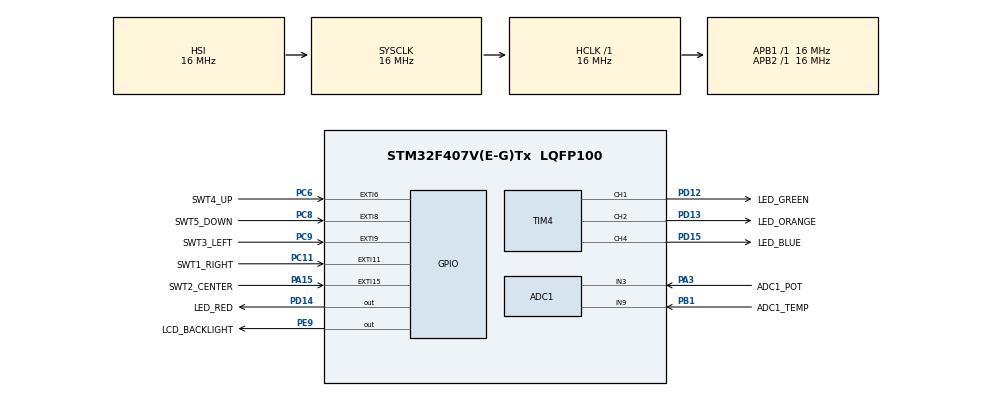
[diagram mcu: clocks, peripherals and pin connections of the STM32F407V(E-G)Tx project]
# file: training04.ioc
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ADC1.Channel-0\#ChannelRegularConversion=ADC_CHANNEL_3
ADC1.Channel-1\#ChannelRegularConversion=ADC_CHANNEL_9
ADC1.Channel-2\#ChannelRegularConversion=ADC_CHANNEL_TEMPSENSOR
ADC1.Channel-3\#ChannelRegularConversion=ADC_CHANNEL_VREFINT
ADC1.ContinuousConvMode=DISABLE
ADC1.DMAContinuousRequests=ENABLE
ADC1.EOCSelection=ADC_EOC_SEQ_CONV
ADC1.ExternalTrigConv=ADC_EXTERNALTRIGCONV_T3_TRGO
ADC1.NbrOfConversion=4
ADC1.NbrOfConversionFlag=1
ADC1.Rank-0\#ChannelRegularConversion=1
ADC1.Rank-1\#ChannelRegularConversion=2
ADC1.Rank-2\#ChannelRegularConversion=3
ADC1.Rank-3\#ChannelRegularConversion=4
ADC1.SamplingTime-0\#ChannelRegularConversion=ADC_SAMPLETIME_480CYCLES
ADC1.SamplingTime-1\#ChannelRegularConversion=ADC_SAMPLETIME_480CYCLES
ADC1.SamplingTime-2\#ChannelRegularConversion=ADC_SAMPLETIME_480CYCLES
ADC1.SamplingTime-3\#ChannelRegularConversion=ADC_SAMPLETIME_480CYCLES
ADC1.ScanConvMode=ENABLE
ADC1.master=1
Dma.ADC1.0.Direction=DMA_PERIPH_TO_MEMORY
Dma.ADC1.0.FIFOMode=DMA_FIFOMODE_DISABLE
Dma.ADC1.0.Instance=DMA2_Stream0
Dma.ADC1.0.MemDataAlignment=DMA_MDATAALIGN_HALFWORD
Dma.ADC1.0.MemInc=DMA_MINC_ENABLE
Dma.ADC1.0.Mode=DMA_CIRCULAR
Dma.ADC1.0.PeriphDataAlignment=DMA_PDATAALIGN_HALFWORD
Dma.ADC1.0.PeriphInc=DMA_PINC_DISABLE
Dma.ADC1.0.Priority=DMA_PRIORITY_LOW
Dma.Request0=ADC1
Mcu.Family=STM32F4
Mcu.Name=STM32F407V(E-G)Tx
Mcu.Package=LQFP100
Mcu.UserConstants=TIM4_PERIOD,100;SAMPLING_RATE,100;TIM4_PRESCALER,1600;TIM3_PRESCALER,160;TIM3_PERIOD,(TIM34_CLK / (TIM3_PRESCALER * SAMPLING_RATE));TIM34_CLK,16000000;ENABLE_VREF_CORRECTION,1;ADC_CHANNELS,4
NVIC.DMA2_Stream0_IRQn=true\:0\:0\:false\:false\:true\:false\:true
NVIC.EXTI15_10_IRQn=true\:0\:0\:false\:false\:true\:true\:true
NVIC.EXTI9_5_IRQn=true\:0\:0\:false\:false\:true\:true\:true
NVIC.PriorityGroup=NVIC_PRIORITYGROUP_4
PA13.Mode=Trace_Asynchronous_SW
PA13.Signal=SYS_JTMS-SWDIO
PA14.Mode=Trace_Asynchronous_SW
PA14.Signal=SYS_JTCK-SWCLK
PA15.GPIO_Label=SWT2_CENTER
PA15.GPIO_ModeDefaultEXTI=GPIO_MODE_IT_FALLING
PA15.Signal=GPXTI15
PA3.GPIO_Label=ADC1_POT
PA3.Signal=ADCx_IN3
PB1.GPIO_Label=ADC1_TEMP
PB1.Signal=ADCx_IN9
PB3.Mode=Trace_Asynchronous_SW
PB3.Signal=SYS_JTDO-SWO
PC11.GPIO_Label=SWT1_RIGHT
PC11.GPIO_ModeDefaultEXTI=GPIO_MODE_IT_FALLING
PC11.Signal=GPXTI11
PC6.GPIO_Label=SWT4_UP
PC6.GPIO_ModeDefaultEXTI=GPIO_MODE_IT_FALLING
PC6.Signal=GPXTI6
PC8.GPIO_Label=SWT5_DOWN
PC8.GPIO_ModeDefaultEXTI=GPIO_MODE_IT_FALLING
PC8.Signal=GPXTI8
PC9.GPIO_Label=SWT3_LEFT
PC9.GPIO_ModeDefaultEXTI=GPIO_MODE_IT_FALLING
PC9.Signal=GPXTI9
PD12.GPIO_Label=LED_GREEN
PD12.GPIO_PuPd=GPIO_PULLDOWN
PD12.Signal=SharedStack_PD12
PD12.Stacked=true
PD13.GPIO_Label=LED_ORANGE
PD13.GPIO_PuPd=GPIO_PULLDOWN
PD13.Signal=SharedStack_PD13
PD13.Stacked=true
PD14.GPIO_Label=LED_RED
PD14.Signal=GPIO_Output
PD15.GPIO_Label=LED_BLUE
PD15.GPIO_PuPd=GPIO_PULLDOWN
PD15.Signal=SharedStack_PD15
PD15.Stacked=true
PE9.GPIO_Label=LCD_BACKLIGHT
PE9.Signal=GPIO_Output
PH0-OSC_IN.Mode=HSE-External-Oscillator
PH0-OSC_IN.Signal=RCC_OSC_IN
PH1-OSC_OUT.Mode=HSE-External-Oscillator
PH1-OSC_OUT.Signal=RCC_OSC_OUT
ProjectManager.HeapSize=0x200
ProjectManager.StackSize=0x400
ProjectManager.TargetToolchain=STM32CubeIDE
RCC.48MHZClocksFreq_Value=48000000
RCC.AHBFreq_Value=16000000
RCC.APB1Freq_Value=16000000
RCC.APB1TimFreq_Value=16000000
RCC.APB2Freq_Value=16000000
RCC.APB2TimFreq_Value=16000000
RCC.CortexFreq_Value=16000000
RCC.HCLKFreq_Value=16000000
RCC.HSE_VALUE=8000000
RCC.HSI_VALUE=16000000
RCC.LSE_VALUE=32768
RCC.PLLM=8
RCC.PLLSourceVirtual=RCC_PLLSOURCE_HSE
RCC.SYSCLKFreq_VALUE=16000000
RCC.VCOOutputFreq_Value=192000000
SH.ADCx_IN3.0=ADC1_IN3,IN3
SH.ADCx_IN9.0=ADC1_IN9,IN9
SH.SharedStack_PD12.0=TIM4_CH1,PWM Generation1 CH1
SH.SharedStack_PD12.1=GPIO_Output+0
SH.SharedStack_PD13.0=TIM4_CH2,PWM Generation2 CH2
SH.SharedStack_PD13.1=GPIO_Output+0
SH.SharedStack_PD15.0=GPIO_Output+0
SH.SharedStack_PD15.1=TIM4_CH4,PWM Generation4 CH4
TIM3.Period=TIM3_PERIOD-1
TIM3.Prescaler=TIM3_PRESCALER-1
TIM3.TIM_MasterOutputTrigger=TIM_TRGO_UPDATE
TIM4.AutoReloadPreload=TIM_AUTORELOAD_PRELOAD_ENABLE
TIM4.Channel-PWM\ Generation1\ CH1=TIM_CHANNEL_1
TIM4.Channel-PWM\ Generation2\ CH2=TIM_CHANNEL_2
TIM4.Channel-PWM\ Generation4\ CH4=TIM_CHANNEL_4
TIM4.Period=TIM4_PERIOD-1
TIM4.Prescaler=TIM4_PRESCALER-1
TIM4.Pulse-PWM\ Generation1\ CH1=0
TIM4.Pulse-PWM\ Generation2\ CH2=0
TIM4.Pulse-PWM\ Generation4\ CH4=0
VP_ADC1_TempSens_Input.Mode=IN-TempSens
VP_ADC1_Vref_Input.Mode=IN-Vrefint
VP_TIM3_VS_ClockSourceINT.Mode=Internal
VP_TIM4_VS_ClockSourceINT.Mode=Internal
board=custom

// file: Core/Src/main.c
/* USER CODE BEGIN Header */
/**
  ******************************************************************************
  * @file           : main.c
  * @brief          : Main program body
  ******************************************************************************
  * @attention
  *
  * <h2><center>&copy; Copyright (c) 2021 STMicroelectronics.
  * All rights reserved.</center></h2>
  *
  * This software component is licensed by ST under BSD 3-Clause license,
  * the "License"; You may not use this file except in compliance with the
  * License. You may obtain a copy of the License at:
  *                        opensource.org/licenses/BSD-3-Clause
  *
  ******************************************************************************
  */
/* USER CODE END Header */
#include "main.h"

/* USER CODE BEGIN Includes */
#include <stdio.h>
/* USER CODE END Includes */

/* USER CODE BEGIN PTD */
typedef enum AdcBufferStatus {
	ADC_BUFFER_NRDY = 0,
	ADC_BUFFER_FIRST_RDY,
	ADC_BUFFER_SECOND_RDY
} AdcBufferStatus;
/* USER CODE END PTD */

/* USER CODE BEGIN PD */

// Maximum allowed value at 3V reference is 175. Higher value leads to calculation overflow
#define ADC_FILTER_SIZE 25
#define ADC_BUFFER_SIZE (2 * ADC_FILTER_SIZE)

#define LED_CCR_BLUE (htim4.Instance->CCR4)
#define LED_CCR_GREEN (htim4.Instance->CCR1)
#define LED_CCR_ORANGE (htim4.Instance->CCR2)

#define CALIBRATION_VOLTAGE 3300

/* USER CODE END PD */

ADC_HandleTypeDef hadc1;
DMA_HandleTypeDef hdma_adc1;

TIM_HandleTypeDef htim3;
TIM_HandleTypeDef htim4;

/* USER CODE BEGIN PV */
int32_t cfgReferenceVoltage = 3000;

volatile AdcBufferStatus adcBufferStatus = ADC_BUFFER_NRDY;
uint16_t adcValues[ADC_BUFFER_SIZE][ADC_CHANNELS];

int32_t potVoltage = 0; // Potentiometer voltage, mV
int32_t extTemperature = 0; // External temperature, 0.1 C
int32_t intTemperature = 0; // Internal temperature, 0.1 C

uint8_t wrnPotentiometer = 0;
uint8_t wrnExtTemperature = 0;
uint8_t wrnIntTemperature = 0;

const int32_t limPotentiometer = 1500;
const int32_t hystPotentiometer = 100;
const int32_t limTemperature = 40*10;
const int32_t hystTemperature = 1*10;

const int32_t minPotentiometer = 0;
const int32_t maxPotentiometer = 3000;
const int32_t minTemperature = 20*10;
const int32_t maxTemperature = 60*10;

const uint16_t wrnBlinkPeriod[4] = {0, 1000/2, 1000/5, 1000/10};

const uint16_t *const vRefCalibration = (const uint16_t *const)0x1fff7a2a;
/* USER CODE END PV */

void SystemClock_Config(void);
static void MX_GPIO_Init(void);
static void MX_TIM4_Init(void);
static void MX_DMA_Init(void);
static void MX_ADC1_Init(void);
static void MX_TIM3_Init(void);
/* USER CODE BEGIN PFP */
uint8_t hlimCheck(int32_t value, int32_t limit, int32_t hyst, uint8_t prevCheck);
int32_t trimAtLimits(int32_t value, int32_t min, int32_t max);
static void warningBlink(uint8_t warningCount);
static int32_t mv2tInternal(int32_t voltage);
static int32_t mv2tExternal(int32_t voltage);
static int32_t adcBuf2Voltages(const uint16_t *adcBuffer, int32_t refV, int32_t chVoltages[ADC_CHANNELS]);
/* USER CODE END PFP */

/* USER CODE BEGIN 0 */
#ifdef DEBUG
/**
 * @brief System function to standard output
 * @param file stream number
 * @param ptr data buffer for output
 * @param len length of data in buffer
 * @retval count of writed data
 */
int _write(int file, char* ptr, int len) {
	int i = 0;
	for (i = 0; i<len; i++)
		ITM_SendChar(*ptr++);
	return len;
}
#endif // DEBUG
/**
  * @brief  Regular conversion half DMA transfer callback in non blocking mode
  * @param  hadc pointer to a ADC_HandleTypeDef structure that contains
  *         the configuration information for the specified ADC.
  * @retval None
  */
void HAL_ADC_ConvHalfCpltCallback(ADC_HandleTypeDef* hadc)
{
	adcBufferStatus = ADC_BUFFER_FIRST_RDY;
}
/**
  * @brief  Regular conversion complete callback in non blocking mode
  * @param  hadc pointer to a ADC_HandleTypeDef structure that contains
  *         the configuration information for the specified ADC.
  * @retval None
  */
void HAL_ADC_ConvCpltCallback(ADC_HandleTypeDef* hadc)
{
	adcBufferStatus = ADC_BUFFER_SECOND_RDY;
}

/**
 * @brief Checking high limit exceed with hysteresis
 * @param value current measurement value
 * @param limit limit setpoint
 * @param hyst hysteresis value
 * @param prevCheck previous checking status
 * @retval boolean result of checking
 */
uint8_t hlimCheck(int32_t value, int32_t limit, int32_t hyst, uint8_t prevCheck)
{
	if (prevCheck)
		return value > (limit-hyst);
	return value >= (limit+hyst);
}

/**
 * @brief Limit value within specified limits [min, max]
 * @param value measured value
 * @param min low limit
 * @param max high limit
 * @retval limited value
 */
int32_t trimAtLimits(int32_t value, int32_t min, int32_t max)
{
	if (value < min)
		return min;
	if (value > max)
		return max;
	return value;
}

/**
 * Convert voltage to external board temperature
 * @param voltage measured voltage in 0.1 mV
 * @retval temperature in 0.1 C
 */
static int32_t mv2tExternal(int32_t voltage) {
	return -voltage / 20 + 1010;
}

/**
 * Convert voltage to internal MCU temperature
 * @param voltage measured voltage in 0.1 mV
 * @retval temperature in 0.1 C
 */
static int32_t mv2tInternal(int32_t voltage) {
	return (voltage - 7600) * 10 / 25 + 250;
}

/**
 * Convert ADC DMA buffer values to voltages via averaging
 * @param adcBuffer point to ADC DMA buffer as uint16_t [ADC_FILTER_SIZE][ADC_CHANNELS]
 * @param refV reference voltage
 * @param chVoltages array of resulted values in 0.1 mV
 * @retval updated reference voltage
 */
static int32_t adcBuf2Voltages(const uint16_t *adcBuffer, int32_t refV, int32_t chVoltages[ADC_CHANNELS]) {
	for (int i = 0; i < ADC_FILTER_SIZE; i++)
	  for (int j = 0; j < ADC_CHANNELS; j++)
		  chVoltages[j] += *adcBuffer++;

	#if ENABLE_VREF_CORRECTION == 1
	if (chVoltages[ADC_CHANNELS-1] > 0)
		refV = CALIBRATION_VOLTAGE * ADC_FILTER_SIZE * (*vRefCalibration) / chVoltages[ADC_CHANNELS-1];
	#endif // ENABLE_VREF_CORRECTION == 1
	for (int i = 0; i < ADC_CHANNELS; i++)
	  chVoltages[i] = (chVoltages[i] * refV / ADC_FILTER_SIZE * 10) >> 12; // average values is measured and averaged ADC_ch * 10
	return refV;
}

/**
 * @brief Toggle warning LED based on actual warnings
 * @param warningCount current warnings counter
 * @retval None
 */
void warningBlink(uint8_t warningCount)
{
	static uint32_t tickStart = 0;
	static uint8_t warningCountPrev = 0;

	warningCount = warningCount >= sizeof(wrnBlinkPeriod) ? (sizeof(wrnBlinkPeriod)-1) : warningCount;

	if (warningCount == 0) {
		HAL_GPIO_WritePin(LED_RED_GPIO_Port, LED_RED_Pin, GPIO_PIN_RESET);
	} else if (warningCountPrev == 0) {
		tickStart = HAL_GetTick();
		HAL_GPIO_WritePin(LED_RED_GPIO_Port, LED_RED_Pin, GPIO_PIN_SET);
	} else {
		uint32_t tickNow = HAL_GetTick();
		if ((tickNow - tickStart) >= wrnBlinkPeriod[warningCount]) {
			tickStart = tickNow;
			HAL_GPIO_TogglePin(LED_RED_GPIO_Port, LED_RED_Pin);
		}
	}
	warningCountPrev = warningCount;
	return;
}
/* USER CODE END 0 */

int main(void)
{

  /* MCU Configuration--------------------------------------------------------*/

  /* Reset of all peripherals, Initializes the Flash interface and the Systick. */
  HAL_Init();

  /* Configure the system clock */
  SystemClock_Config();

  /* Initialize all configured peripherals */
  MX_GPIO_Init();
  MX_TIM4_Init();
  MX_DMA_Init();
  MX_ADC1_Init();
  MX_TIM3_Init();

  /* Infinite loop */
  /* USER CODE BEGIN WHILE */
  __attribute__ ((unused)) HAL_StatusTypeDef status = HAL_ADC_Start_DMA(&hadc1, (uint32_t*)adcValues, ADC_CHANNELS*ADC_BUFFER_SIZE);
  HAL_TIM_PWM_Start(&htim4, TIM_CHANNEL_1);
  HAL_TIM_PWM_Start(&htim4, TIM_CHANNEL_2);
  HAL_TIM_PWM_Start(&htim4, TIM_CHANNEL_4);
  HAL_TIM_Base_Start(&htim3);

  while (1)
  {
	  // Wait data
	  while(adcBufferStatus == ADC_BUFFER_NRDY) {
		  warningBlink(wrnPotentiometer + wrnExtTemperature + wrnIntTemperature);
#ifndef DEBUG
		  HAL_PWR_EnterSLEEPMode(PWR_MAINREGULATOR_ON, PWR_SLEEPENTRY_WFI);
#endif // DEBUG
	  }

	  // Captured data averaging
	  uint16_t *ptrBuf = (uint16_t*)adcValues;
	  if (adcBufferStatus == ADC_BUFFER_SECOND_RDY)
		  ptrBuf += ADC_CHANNELS * ADC_FILTER_SIZE;
	  int32_t chVoltages[ADC_CHANNELS] = {0};
	  cfgReferenceVoltage = adcBuf2Voltages(ptrBuf, cfgReferenceVoltage, chVoltages);
	  adcBufferStatus = ADC_BUFFER_NRDY;

	  potVoltage = chVoltages[0] / 10;
	  extTemperature = mv2tExternal(chVoltages[1]);
	  intTemperature = mv2tInternal(chVoltages[2]);

	  wrnPotentiometer = hlimCheck(potVoltage, limPotentiometer, hystPotentiometer, wrnPotentiometer);
	  wrnExtTemperature = hlimCheck(extTemperature, limTemperature, hystTemperature, wrnExtTemperature);
	  wrnIntTemperature = hlimCheck(intTemperature, limTemperature, hystTemperature, wrnIntTemperature);

#ifdef DEBUG
	  printf("%ld %ld %ld %d\n", potVoltage, extTemperature, intTemperature, wrnPotentiometer + wrnExtTemperature + wrnIntTemperature);
#endif // DEBUG

	  int32_t scaledToPwm;
	  scaledToPwm = (potVoltage - minPotentiometer) * TIM4_PERIOD / (maxPotentiometer - minPotentiometer);
	  LED_CCR_BLUE = (uint32_t)trimAtLimits(scaledToPwm, 0, TIM4_PERIOD);

	  scaledToPwm = (extTemperature - minTemperature) * TIM4_PERIOD / (maxTemperature - minTemperature);
	  LED_CCR_GREEN = (uint32_t)trimAtLimits(scaledToPwm, 0, TIM4_PERIOD);

	  scaledToPwm = (intTemperature - minTemperature) * TIM4_PERIOD / (maxTemperature - minTemperature);
	  LED_CCR_ORANGE = (uint32_t)trimAtLimits(scaledToPwm, 0, TIM4_PERIOD);

    /* USER CODE END WHILE */

  }
}

void SystemClock_Config(void)
{
  RCC_OscInitTypeDef RCC_OscInitStruct = {0};
  RCC_ClkInitTypeDef RCC_ClkInitStruct = {0};

  /** Configure the main internal regulator output voltage
  */
  __HAL_RCC_PWR_CLK_ENABLE();
  __HAL_PWR_VOLTAGESCALING_CONFIG(PWR_REGULATOR_VOLTAGE_SCALE1);
  /** Initializes the RCC Oscillators according to the specified parameters
  * in the RCC_OscInitTypeDef structure.
  */
  RCC_OscInitStruct.OscillatorType = RCC_OSCILLATORTYPE_HSI;
  RCC_OscInitStruct.HSIState = RCC_HSI_ON;
  RCC_OscInitStruct.HSICalibrationValue = RCC_HSICALIBRATION_DEFAULT;
  RCC_OscInitStruct.PLL.PLLState = RCC_PLL_NONE;
  if (HAL_RCC_OscConfig(&RCC_OscInitStruct) != HAL_OK)
  {
    Error_Handler();
  }
  /** Initializes the CPU, AHB and APB buses clocks
  */
  RCC_ClkInitStruct.ClockType = RCC_CLOCKTYPE_HCLK|RCC_CLOCKTYPE_SYSCLK
                              |RCC_CLOCKTYPE_PCLK1|RCC_CLOCKTYPE_PCLK2;
  RCC_ClkInitStruct.SYSCLKSource = RCC_SYSCLKSOURCE_HSI;
  RCC_ClkInitStruct.AHBCLKDivider = RCC_SYSCLK_DIV1;
  RCC_ClkInitStruct.APB1CLKDivider = RCC_HCLK_DIV1;
  RCC_ClkInitStruct.APB2CLKDivider = RCC_HCLK_DIV1;

  if (HAL_RCC_ClockConfig(&RCC_ClkInitStruct, FLASH_LATENCY_0) != HAL_OK)
  {
    Error_Handler();
  }
}

static void MX_ADC1_Init(void)
{

  ADC_ChannelConfTypeDef sConfig = {0};

  /** Configure the global features of the ADC (Clock, Resolution, Data Alignment and number of conversion)
  */
  hadc1.Instance = ADC1;
  hadc1.Init.ClockPrescaler = ADC_CLOCK_SYNC_PCLK_DIV2;
  hadc1.Init.Resolution = ADC_RESOLUTION_12B;
  hadc1.Init.ScanConvMode = ENABLE;
  hadc1.Init.ContinuousConvMode = DISABLE;
  hadc1.Init.DiscontinuousConvMode = DISABLE;
  hadc1.Init.ExternalTrigConvEdge = ADC_EXTERNALTRIGCONVEDGE_RISING;
  hadc1.Init.ExternalTrigConv = ADC_EXTERNALTRIGCONV_T3_TRGO;
  hadc1.Init.DataAlign = ADC_DATAALIGN_RIGHT;
  hadc1.Init.NbrOfConversion = 4;
  hadc1.Init.DMAContinuousRequests = ENABLE;
  hadc1.Init.EOCSelection = ADC_EOC_SEQ_CONV;
  if (HAL_ADC_Init(&hadc1) != HAL_OK)
  {
    Error_Handler();
  }
  /** Configure for the selected ADC regular channel its corresponding rank in the sequencer and its sample time.
  */
  sConfig.Channel = ADC_CHANNEL_3;
  sConfig.Rank = 1;
  sConfig.SamplingTime = ADC_SAMPLETIME_480CYCLES;
  if (HAL_ADC_ConfigChannel(&hadc1, &sConfig) != HAL_OK)
  {
    Error_Handler();
  }
  /** Configure for the selected ADC regular channel its corresponding rank in the sequencer and its sample time.
  */
  sConfig.Channel = ADC_CHANNEL_9;
  sConfig.Rank = 2;
  if (HAL_ADC_ConfigChannel(&hadc1, &sConfig) != HAL_OK)
  {
    Error_Handler();
  }
  /** Configure for the selected ADC regular channel its corresponding rank in the sequencer and its sample time.
  */
  sConfig.Channel = ADC_CHANNEL_TEMPSENSOR;
  sConfig.Rank = 3;
  if (HAL_ADC_ConfigChannel(&hadc1, &sConfig) != HAL_OK)
  {
    Error_Handler();
  }
  /** Configure for the selected ADC regular channel its corresponding rank in the sequencer and its sample time.
  */
  sConfig.Channel = ADC_CHANNEL_VREFINT;
  sConfig.Rank = 4;
  if (HAL_ADC_ConfigChannel(&hadc1, &sConfig) != HAL_OK)
  {
    Error_Handler();
  }

}

static void MX_TIM3_Init(void)
{

  TIM_ClockConfigTypeDef sClockSourceConfig = {0};
  TIM_MasterConfigTypeDef sMasterConfig = {0};

  htim3.Instance = TIM3;
  htim3.Init.Prescaler = TIM3_PRESCALER-1;
  htim3.Init.CounterMode = TIM_COUNTERMODE_UP;
  htim3.Init.Period = TIM3_PERIOD-1;
  htim3.Init.ClockDivision = TIM_CLOCKDIVISION_DIV1;
  htim3.Init.AutoReloadPreload = TIM_AUTORELOAD_PRELOAD_DISABLE;
  if (HAL_TIM_Base_Init(&htim3) != HAL_OK)
  {
    Error_Handler();
  }
  sClockSourceConfig.ClockSource = TIM_CLOCKSOURCE_INTERNAL;
  if (HAL_TIM_ConfigClockSource(&htim3, &sClockSourceConfig) != HAL_OK)
  {
    Error_Handler();
  }
  sMasterConfig.MasterOutputTrigger = TIM_TRGO_UPDATE;
  sMasterConfig.MasterSlaveMode = TIM_MASTERSLAVEMODE_DISABLE;
  if (HAL_TIMEx_MasterConfigSynchronization(&htim3, &sMasterConfig) != HAL_OK)
  {
    Error_Handler();
  }

}

static void MX_TIM4_Init(void)
{

  TIM_ClockConfigTypeDef sClockSourceConfig = {0};
  TIM_MasterConfigTypeDef sMasterConfig = {0};
  TIM_OC_InitTypeDef sConfigOC = {0};

  htim4.Instance = TIM4;
  htim4.Init.Prescaler = TIM4_PRESCALER-1;
  htim4.Init.CounterMode = TIM_COUNTERMODE_UP;
  htim4.Init.Period = TIM4_PERIOD-1;
  htim4.Init.ClockDivision = TIM_CLOCKDIVISION_DIV1;
  htim4.Init.AutoReloadPreload = TIM_AUTORELOAD_PRELOAD_ENABLE;
  if (HAL_TIM_Base_Init(&htim4) != HAL_OK)
  {
    Error_Handler();
  }
  sClockSourceConfig.ClockSource = TIM_CLOCKSOURCE_INTERNAL;
  if (HAL_TIM_ConfigClockSource(&htim4, &sClockSourceConfig) != HAL_OK)
  {
    Error_Handler();
  }
  if (HAL_TIM_PWM_Init(&htim4) != HAL_OK)
  {
    Error_Handler();
  }
  sMasterConfig.MasterOutputTrigger = TIM_TRGO_RESET;
  sMasterConfig.MasterSlaveMode = TIM_MASTERSLAVEMODE_DISABLE;
  if (HAL_TIMEx_MasterConfigSynchronization(&htim4, &sMasterConfig) != HAL_OK)
  {
    Error_Handler();
  }
  sConfigOC.OCMode = TIM_OCMODE_PWM1;
  sConfigOC.Pulse = 0;
  sConfigOC.OCPolarity = TIM_OCPOLARITY_HIGH;
  sConfigOC.OCFastMode = TIM_OCFAST_DISABLE;
  if (HAL_TIM_PWM_ConfigChannel(&htim4, &sConfigOC, TIM_CHANNEL_1) != HAL_OK)
  {
    Error_Handler();
  }
  if (HAL_TIM_PWM_ConfigChannel(&htim4, &sConfigOC, TIM_CHANNEL_2) != HAL_OK)
  {
    Error_Handler();
  }
  if (HAL_TIM_PWM_ConfigChannel(&htim4, &sConfigOC, TIM_CHANNEL_4) != HAL_OK)
  {
    Error_Handler();
  }
  HAL_TIM_MspPostInit(&htim4);

}

static void MX_DMA_Init(void)
{

  /* DMA controller clock enable */
  __HAL_RCC_DMA2_CLK_ENABLE();

  /* DMA interrupt init */
  /* DMA2_Stream0_IRQn interrupt configuration */
  HAL_NVIC_SetPriority(DMA2_Stream0_IRQn, 0, 0);
  HAL_NVIC_EnableIRQ(DMA2_Stream0_IRQn);

}

static void MX_GPIO_Init(void)
{
  GPIO_InitTypeDef GPIO_InitStruct = {0};

  /* GPIO Ports Clock Enable */
  __HAL_RCC_GPIOH_CLK_ENABLE();
  __HAL_RCC_GPIOA_CLK_ENABLE();
  __HAL_RCC_GPIOB_CLK_ENABLE();
  __HAL_RCC_GPIOE_CLK_ENABLE();
  __HAL_RCC_GPIOD_CLK_ENABLE();
  __HAL_RCC_GPIOC_CLK_ENABLE();

  /*Configure GPIO pin Output Level */
  HAL_GPIO_WritePin(LCD_BACKLIGHT_GPIO_Port, LCD_BACKLIGHT_Pin, GPIO_PIN_RESET);

  /*Configure GPIO pin Output Level */
  HAL_GPIO_WritePin(LED_RED_GPIO_Port, LED_RED_Pin, GPIO_PIN_RESET);

  /*Configure GPIO pin : LCD_BACKLIGHT_Pin */
  GPIO_InitStruct.Pin = LCD_BACKLIGHT_Pin;
  GPIO_InitStruct.Mode = GPIO_MODE_OUTPUT_PP;
  GPIO_InitStruct.Pull = GPIO_NOPULL;
  GPIO_InitStruct.Speed = GPIO_SPEED_FREQ_LOW;
  HAL_GPIO_Init(LCD_BACKLIGHT_GPIO_Port, &GPIO_InitStruct);

  /*Configure GPIO pin : LED_RED_Pin */
  GPIO_InitStruct.Pin = LED_RED_Pin;
  GPIO_InitStruct.Mode = GPIO_MODE_OUTPUT_PP;
  GPIO_InitStruct.Pull = GPIO_NOPULL;
  GPIO_InitStruct.Speed = GPIO_SPEED_FREQ_LOW;
  HAL_GPIO_Init(LED_RED_GPIO_Port, &GPIO_InitStruct);

  /*Configure GPIO pins : SWT4_UP_Pin SWT5_DOWN_Pin SWT3_LEFT_Pin SWT1_RIGHT_Pin */
  GPIO_InitStruct.Pin = SWT4_UP_Pin|SWT5_DOWN_Pin|SWT3_LEFT_Pin|SWT1_RIGHT_Pin;
  GPIO_InitStruct.Mode = GPIO_MODE_IT_FALLING;
  GPIO_InitStruct.Pull = GPIO_NOPULL;
  HAL_GPIO_Init(GPIOC, &GPIO_InitStruct);

  /*Configure GPIO pin : SWT2_CENTER_Pin */
  GPIO_InitStruct.Pin = SWT2_CENTER_Pin;
  GPIO_InitStruct.Mode = GPIO_MODE_IT_FALLING;
  GPIO_InitStruct.Pull = GPIO_NOPULL;
  HAL_GPIO_Init(SWT2_CENTER_GPIO_Port, &GPIO_InitStruct);

  /* EXTI interrupt init*/
  HAL_NVIC_SetPriority(EXTI9_5_IRQn, 0, 0);
  HAL_NVIC_EnableIRQ(EXTI9_5_IRQn);

  HAL_NVIC_SetPriority(EXTI15_10_IRQn, 0, 0);
  HAL_NVIC_EnableIRQ(EXTI15_10_IRQn);

}

void Error_Handler(void)
{
  __disable_irq();
  while (1)
  {
  }
}

/************************ (C) COPYRIGHT STMicroelectronics *****END OF FILE****/
